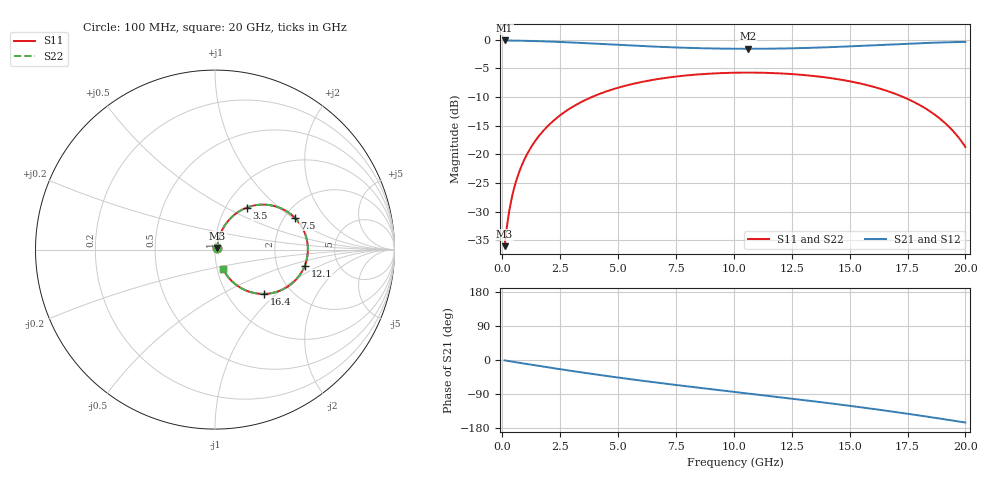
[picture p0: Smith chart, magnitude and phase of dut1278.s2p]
! Touchstone file exported from HFSS 2026.1.0
!  File:  C:/ffzhzh/LocalFiles/Ansys_Project_Files/temp_train_TSV_RDL_1278_1783330032_39728.aedt
!  Generated:  05:38:30 PM Jul  6, 2026
!  Design:  TSV_RDL
!  Project:  temp_train_TSV_RDL_1278_1783330032_39728
! Variables:
!  h_bsmrdl = 2.97um
!  h_ox = 20um
!  h_rdl = 5um
!  h_sub = 77.25um
!  h_tmrdl = 4.78um
!  h_tsv = 77.25um
!  h_via = 3um
!  l_bsmrdl = 506.89um
!  l_sub = 2774.13um
!  l_tmrdl = 180.74um
!  m_sub = 200um
!  pitch = 50.56um
!  r_tsv = 8.68um
!  s_tmrdl = 10um
!  w_bsmrdl = 22.25um
!  w_sub = 500um
!  w_tmrdl = 21.25um
!  x_tsv_center1 = 191.365um
!  x_tsv_center2 = 720.505um
!  x_tsv_center3 = 922.495um
!  x_tsv_center4 = 1451.635um
!  x_tsv_center5 = 1653.625um
!  x_tsv_center6 = 2182.765um
# GHz S MA R 50.000000
! Terminal data exported
! Port[1] = TM_RDL1_1_T1
! Port[2] = TM_RDL5_1_T1
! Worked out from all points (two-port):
!   200 points, 100 MHz to 20 GHz, reference 50 ohm
!   highest |S21| = -0.11 dB at 100 MHz (marker M1); lowest = -1.6 dB at 10.6 GHz (marker M2)
!   |S21| within 3 dB of the highest: start of sweep to end of sweep
!   lowest |S11| = -36.0 dB at 100 MHz (marker M3), VSWR 1.03, Z = 51.2 + j1.01 ohm
!   |S11| at or under -10 dB: start of sweep to 3.862 GHz; 17.32 GHz to end of sweep
!   |S22| runs from -36.0 to -5.7 dB; largest |S21 - S12| = 2.2e-14
!   S11 on the Smith chart (normalised r, x): 100 MHz: 1.02, +0.02; 3.5 GHz: 1.25, +0.64; 7.5 GHz: 2.26, +1.05; 12.1 GHz: 2.88, -0.70; 16.4 GHz: 1.47, -0.84; 20 GHz: 1.07, -0.23
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0.1  0.01578 38.5  0.9878 -1.0  0.9878 -1.0  0.01578 38.5
! Gamma 0 0 0 0
! Port Impedance 50 0 50 0
0.3  0.0321 62.7  0.9864 -3.1  0.9864 -3.1  0.0321 62.7
0.5  0.04975 68.7  0.9849 -5.0  0.9849 -5.0  0.04975 68.7
0.8  0.07641 70.9  0.9824 -8.0  0.9824 -8.0  0.07641 70.9
1.1  0.1029 70.5  0.9794 -10.9  0.9794 -10.9  0.1029 70.5
1.6  0.1462 67.9  0.9732 -15.8  0.9732 -15.8  0.1462 67.9
2.1  0.1877 64.3  0.9654 -20.5  0.9654 -20.5  0.1877 64.3
3.5  0.2924 53.0  0.9379 -33.4  0.9379 -33.4  0.2924 53.0
5.1  0.3869 40.1  0.9025 -47.1  0.9025 -47.1  0.387 40.1
6.8  0.4574 27.1  0.8691 -60.6  0.8691 -60.6  0.4574 27.1
7.5  0.478 21.9  0.858 -65.9  0.858 -65.9  0.478 21.9
10.1  0.5166 3.7  0.8357 -84.8  0.8357 -84.8  0.5166 3.7
10.6  0.5176 0.2  0.8351 -88.3  0.8351 -88.3  0.5176 0.2
12.1  0.5082 -10.2  0.8402 -99.0  0.8402 -99.0  0.5082 -10.2
13.4  0.4847 -19.3  0.8528 -108.6  0.8528 -108.6  0.4847 -19.3
15  0.4346 -31.1  0.877 -120.9  0.877 -120.9  0.4347 -31.1
16.4  0.37 -41.8  0.9032 -132.3  0.9032 -132.3  0.37 -41.8
16.7  0.3535 -44.2  0.9091 -134.9  0.9091 -134.9  0.3535 -44.2
17.8  0.2851 -52.9  0.93 -144.5  0.93 -144.5  0.2851 -52.9
18.7  0.2204 -59.9  0.945 -152.7  0.945 -152.7  0.2204 -59.8
19.4  0.1654 -64.7  0.9542 -159.3  0.9542 -159.3  0.1655 -64.7
20  0.116 -67.6  0.96 -165.0  0.96 -165.0  0.116 -67.5
